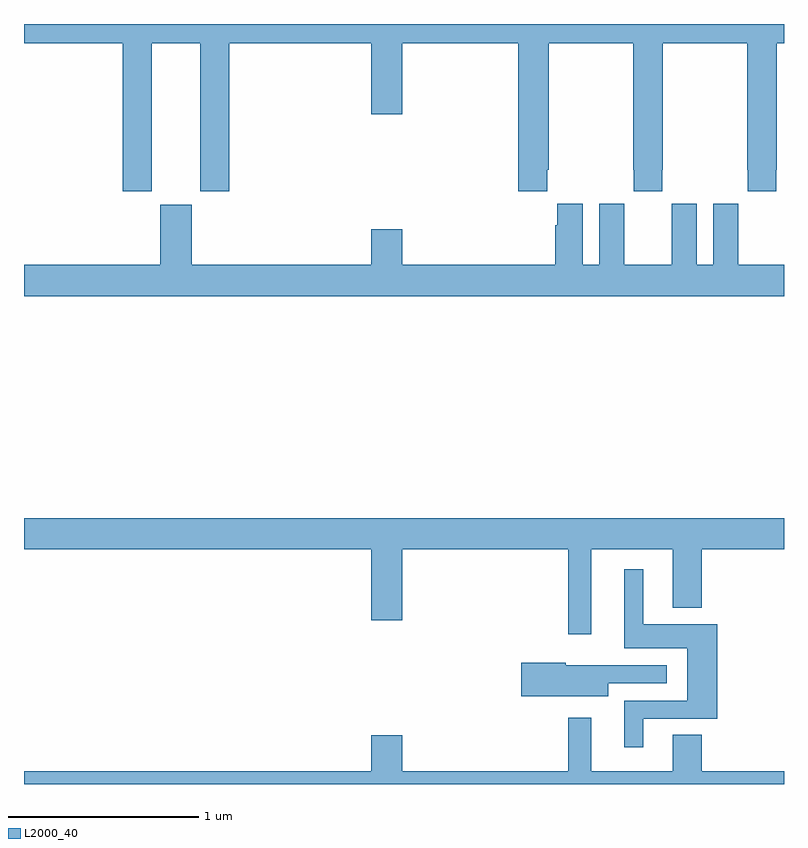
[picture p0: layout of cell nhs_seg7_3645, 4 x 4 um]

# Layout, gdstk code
import gdstk
lib = gdstk.Library(unit=1e-6, precision=1e-09)
def P(c, l, *ps):  # polygons
    for p in ps: c.add(gdstk.Polygon(p, *l))
L2000_40 = (2000, 40)

nhs_seg7_3645 = lib.new_cell('nhs_seg7_3645')
P(nhs_seg7_3645, L2000_40, [(343.672,1049.9),(343.928,1049.9),(343.928,1049.121),(344.081,1049.121),(344.081,1049.9),(344.828,1049.9),(344.828,1049.526),(344.992,1049.526),(344.992,1049.9),(345.602,1049.9),(345.602,1049.121),(345.755,1049.121),(345.755,1049.233),(345.762,1049.233),(345.762,1049.9),(346.207,1049.9),(346.207,1049.233),(346.209,1049.233),(346.209,1049.121),(346.359,1049.121),(346.359,1049.233),(346.362,1049.233),(346.362,1049.9),(346.807,1049.9),(346.807,1049.233),(346.809,1049.233),(346.809,1049.121),(346.959,1049.121),(346.959,1049.233),(346.962,1049.233),(346.962,1049.9),(347,1049.9),(347,1050),(343,1050),(343,1049.9),(343.52,1049.9),(343.52,1049.121),(343.672,1049.121)],
  [(347,1048.732),(346.759,1048.732),(346.759,1048.94),(346.758,1048.94),(346.758,1049.053),(346.628,1049.053),(346.628,1048.732),(346.54,1048.732),(346.54,1049.053),(346.41,1049.053),(346.41,1048.94),(346.409,1048.94),(346.409,1048.732),(346.159,1048.732),(346.159,1048.94),(346.158,1048.94),(346.158,1049.053),(346.028,1049.053),(346.028,1048.732),(345.94,1048.732),(345.94,1049.053),(345.806,1049.053),(345.806,1048.94),(345.797,1048.94),(345.797,1048.732),(344.992,1048.732),(344.992,1048.921),(344.828,1048.921),(344.828,1048.732),(343.882,1048.732),(343.882,1049.049),(343.718,1049.049),(343.718,1048.732),(343,1048.732),(343,1048.568),(347,1048.568)],
  [(345.985,1047.236),(346.415,1047.236),(346.415,1046.927),(346.568,1046.927),(346.568,1047.236),(347,1047.236),(347,1047.4),(343,1047.4),(343,1047.236),(344.828,1047.236),(344.828,1046.862),(344.992,1046.862),(344.992,1047.236),(345.864,1047.236),(345.864,1046.787),(345.985,1046.787)],
  [(346.258,1046.343),(346.649,1046.343),(346.649,1046.842),(346.258,1046.842),(346.258,1047.13),(346.16,1047.13),(346.16,1046.714),(346.49,1046.714),(346.49,1046.439),(346.16,1046.439),(346.16,1046.193),(346.258,1046.193)],
  [(346.075,1046.529),(346.384,1046.529),(346.384,1046.625),(346.071,1046.625),(346.071,1046.626),(345.852,1046.626),(345.852,1046.639),(345.618,1046.639),(345.618,1046.461),(346.075,1046.461)],
  [(347,1046.068),(346.568,1046.068),(346.568,1046.258),(346.415,1046.258),(346.415,1046.068),(345.985,1046.068),(345.985,1046.35),(345.864,1046.35),(345.864,1046.068),(344.992,1046.068),(344.992,1046.257),(344.828,1046.257),(344.828,1046.068),(343,1046.068),(343,1046),(347,1046)])

lib.write_gds('nhs_seg7_3645.gds')
